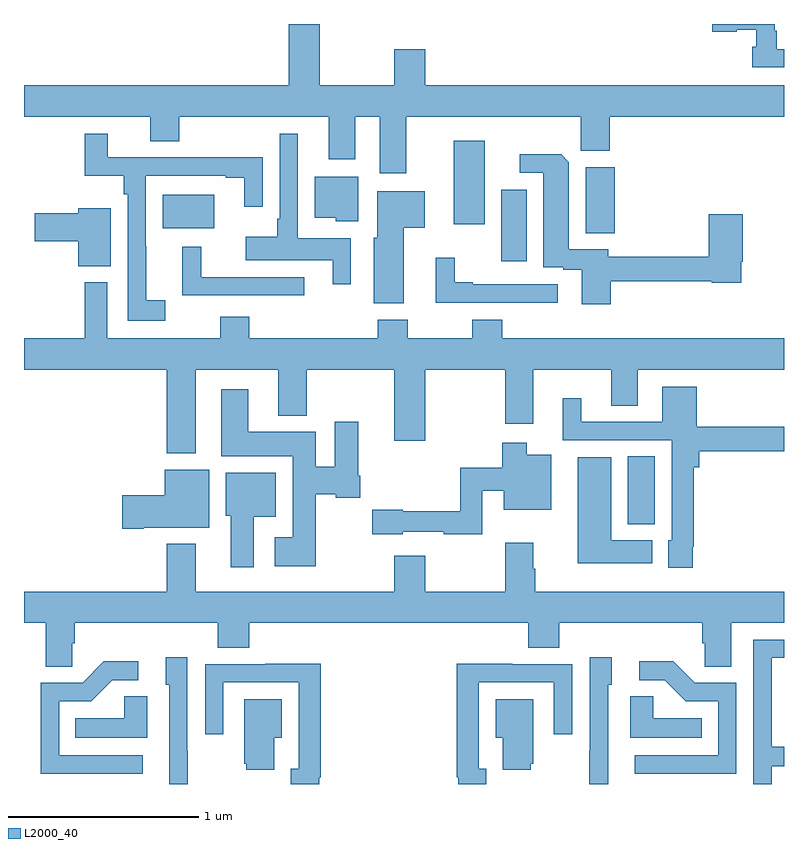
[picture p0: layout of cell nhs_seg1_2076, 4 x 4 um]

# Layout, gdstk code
import gdstk
lib = gdstk.Library(unit=1e-6, precision=1e-09)
def R(c, l, rs):  # rectangles x0, y0, x1, y1
    for r in rs: c.add(gdstk.rectangle(r[:2], r[2:], *l))
def P(c, l, *ps):  # polygons
    for p in ps: c.add(gdstk.Polygon(p, *l))
L2000_40 = (2000, 40)

nhs_seg1_2076 = lib.new_cell('nhs_seg1_2076')
R(nhs_seg1_2076, L2000_40, [(226.178,569.567,226.321,569.924), (225.512,570.951,225.646,571.327), (225.956,571.099,226.109,571.446), (223.73,571.124,224.002,571.3), (225.263,571.146,225.424,571.585)])
P(nhs_seg1_2076, L2000_40, [(225.013,571.712),(225.931,571.712),(225.931,571.531),(226.082,571.531),(226.082,571.712),(227,571.712),(227,571.876),(225.112,571.876),(225.112,572.065),(224.948,572.065),(224.948,571.876),(224.557,571.876),(224.557,572.199),(224.393,572.199),(224.393,571.876),(223,571.876),(223,571.712),(223.664,571.712),(223.664,571.582),(223.817,571.582),(223.817,571.712),(224.603,571.712),(224.603,571.488),(224.743,571.488),(224.743,571.712),(224.873,571.712),(224.873,571.413),(225.013,571.413)],
  [(227,572.067),(226.962,572.067),(226.962,572.164),(226.95,572.164),(226.95,572.199),(226.622,572.199),(226.622,572.159),(226.752,572.159),(226.752,572.17),(226.854,572.17),(226.854,572.078),(226.834,572.078),(226.834,571.971),(227,571.971)],
  [(224.721,571.072),(224.442,571.072),(224.442,571.621),(224.346,571.621),(224.346,571.174),(224.334,571.174),(224.334,571.078),(224.166,571.078),(224.166,570.956),(224.624,570.956),(224.624,570.828),(224.721,570.828)],
  [(223.744,570.745),(223.643,570.745),(223.643,571.028),(223.641,571.028),(223.641,571.401),(224.063,571.401),(224.063,571.389),(224.159,571.389),(224.159,571.236),(224.256,571.236),(224.256,571.499),(223.9,571.499),(223.9,571.497),(223.638,571.497),(223.638,571.499),(223.44,571.499),(223.44,571.621),(223.321,571.621),(223.321,571.4),(223.525,571.4),(223.525,571.304),(223.545,571.304),(223.545,570.636),(223.744,570.636)],
  [(226.088,570.846),(226.62,570.846),(226.62,570.838),(226.774,570.838),(226.774,570.949),(226.782,570.949),(226.782,571.198),(226.604,571.198),(226.604,570.974),(226.075,570.974),(226.075,571.014),(225.868,571.014),(225.868,571.472),(225.827,571.514),(225.609,571.514),(225.609,571.416),(225.734,571.416),(225.734,570.918),(225.839,570.918),(225.839,570.906),(225.935,570.906),(225.935,570.723),(226.088,570.723)],
  [(224.758,571.396),(224.531,571.396),(224.531,571.178),(224.64,571.178),(224.64,571.16),(224.758,571.16)],
  [(224.998,571.127),(225.109,571.127),(225.109,571.318),(224.858,571.318),(224.858,571.074),(224.84,571.074),(224.84,570.728),(224.998,570.728)],
  [(223.456,571.228),(223.286,571.228),(223.286,571.202),(223.056,571.202),(223.056,571.055),(223.286,571.055),(223.286,570.925),(223.456,570.925)],
  [(224.476,570.867),(223.932,570.867),(223.932,571.027),(223.832,571.027),(223.832,570.771),(224.476,570.771)],
  [(225.808,570.828),(225.361,570.828),(225.361,570.841),(225.267,570.841),(225.267,570.97),(225.167,570.97),(225.167,570.732),(225.808,570.732)],
  [(223.903,570.38),(224.339,570.38),(224.339,570.137),(224.487,570.137),(224.487,570.38),(224.948,570.38),(224.948,570.006),(225.112,570.006),(225.112,570.38),(225.532,570.38),(225.532,570.096),(225.679,570.096),(225.679,570.38),(226.091,570.38),(226.091,570.19),(226.231,570.19),(226.231,570.38),(227,570.38),(227,570.544),(225.518,570.544),(225.518,570.643),(225.358,570.643),(225.358,570.544),(225.021,570.544),(225.021,570.643),(224.861,570.643),(224.861,570.544),(224.186,570.544),(224.186,570.658),(224.033,570.658),(224.033,570.544),(223.437,570.544),(223.437,570.84),(223.321,570.84),(223.321,570.544),(223,570.544),(223,570.38),(223.751,570.38),(223.751,569.939),(223.903,569.939)],
  [(226.519,569.449),(226.526,569.449),(226.526,569.867),(226.553,569.867),(226.553,569.95),(227,569.95),(227,570.079),(226.54,570.079),(226.54,570.289),(226.358,570.289),(226.358,570.105),(225.934,570.105),(225.934,570.229),(225.836,570.229),(225.836,570.009),(226.41,570.009),(226.41,569.481),(226.391,569.481),(226.391,569.337),(226.519,569.337)],
  [(224.536,569.723),(224.64,569.723),(224.64,569.705),(224.771,569.705),(224.771,569.821),(224.758,569.821),(224.758,570.106),(224.636,570.106),(224.636,569.87),(224.536,569.87),(224.536,570.052),(224.179,570.052),(224.179,570.277),(224.039,570.277),(224.039,569.924),(224.414,569.924),(224.414,569.497),(224.319,569.497),(224.319,569.345),(224.536,569.345)],
  [(224.994,569.526),(225.208,569.526),(225.208,569.514),(225.411,569.514),(225.411,569.743),(225.524,569.743),(225.524,569.642),(225.775,569.642),(225.775,569.932),(225.646,569.932),(225.646,569.995),(225.517,569.995),(225.517,569.864),(225.295,569.864),(225.295,569.635),(224.994,569.635),(224.994,569.643),(224.832,569.643),(224.832,569.513),(224.994,569.513)],
  [(226.306,569.482),(226.09,569.482),(226.09,569.92),(225.914,569.92),(225.914,569.36),(226.306,569.36)],
  [(223.63,569.549),(223.975,569.549),(223.975,569.854),(223.742,569.854),(223.742,569.72),(223.518,569.72),(223.518,569.542),(223.63,569.542)],
  [(224.209,569.606),(224.326,569.606),(224.326,569.836),(224.063,569.836),(224.063,569.61),(224.087,569.61),(224.087,569.34),(224.209,569.34)],
  [(223.254,568.939),(223.268,568.939),(223.268,569.048),(224.021,569.048),(224.021,568.915),(224.186,568.915),(224.186,569.048),(225.653,569.048),(225.653,568.915),(225.818,568.915),(225.818,569.048),(226.571,569.048),(226.571,568.939),(226.584,568.939),(226.584,568.816),(226.723,568.816),(226.723,569.048),(227,569.048),(227,569.212),(225.692,569.212),(225.692,569.333),(225.679,569.333),(225.679,569.47),(225.532,569.47),(225.532,569.212),(225.112,569.212),(225.112,569.401),(224.948,569.401),(224.948,569.212),(223.903,569.212),(223.903,569.464),(223.751,569.464),(223.751,569.212),(223,569.212),(223,569.048),(223.115,569.048),(223.115,568.816),(223.254,568.816)],
  [(226.935,568.293),(227,568.293),(227,568.394),(226.935,568.394),(226.935,568.863),(227,568.863),(227,568.959),(226.839,568.959),(226.839,568.199),(226.935,568.199)],
  [(223.863,568.373),(223.86,568.373),(223.86,568.867),(223.745,568.867),(223.745,568.722),(223.764,568.722),(223.764,568.199),(223.863,568.199)],
  [(226.074,568.722),(226.093,568.722),(226.093,568.867),(225.978,568.867),(225.978,568.373),(225.976,568.373),(225.976,568.199),(226.074,568.199)],
  [(226.749,568.731),(226.53,568.731),(226.417,568.844),(226.239,568.844),(226.239,568.746),(226.373,568.746),(226.484,568.635),(226.653,568.635),(226.653,568.35),(226.215,568.35),(226.215,568.254),(226.749,568.254)],
  [(223.624,568.35),(223.185,568.35),(223.185,568.635),(223.354,568.635),(223.465,568.746),(223.6,568.746),(223.6,568.844),(223.421,568.844),(223.308,568.731),(223.089,568.731),(223.089,568.254),(223.624,568.254)],
  [(224.554,568.234),(224.561,568.234),(224.561,568.832),(224.269,568.832),(224.269,568.83),(223.953,568.83),(223.953,568.461),(224.049,568.461),(224.049,568.734),(224.445,568.734),(224.445,568.278),(224.405,568.278),(224.405,568.199),(224.554,568.199)],
  [(225.433,568.278),(225.393,568.278),(225.393,568.734),(225.789,568.734),(225.789,568.461),(225.885,568.461),(225.885,568.83),(225.569,568.83),(225.569,568.832),(225.277,568.832),(225.277,568.234),(225.285,568.234),(225.285,568.199),(225.433,568.199)],
  [(223.648,568.661),(223.527,568.661),(223.527,568.546),(223.27,568.546),(223.27,568.442),(223.648,568.442)],
  [(226.568,568.546),(226.311,568.546),(226.311,568.661),(226.19,568.661),(226.19,568.442),(226.568,568.442)],
  [(225.668,568.305),(225.679,568.305),(225.679,568.645),(225.482,568.645),(225.482,568.442),(225.521,568.442),(225.521,568.274),(225.668,568.274)],
  [(224.317,568.442),(224.356,568.442),(224.356,568.645),(224.159,568.645),(224.159,568.305),(224.171,568.305),(224.171,568.274),(224.317,568.274)])

lib.write_gds('nhs_seg1_2076.gds')
